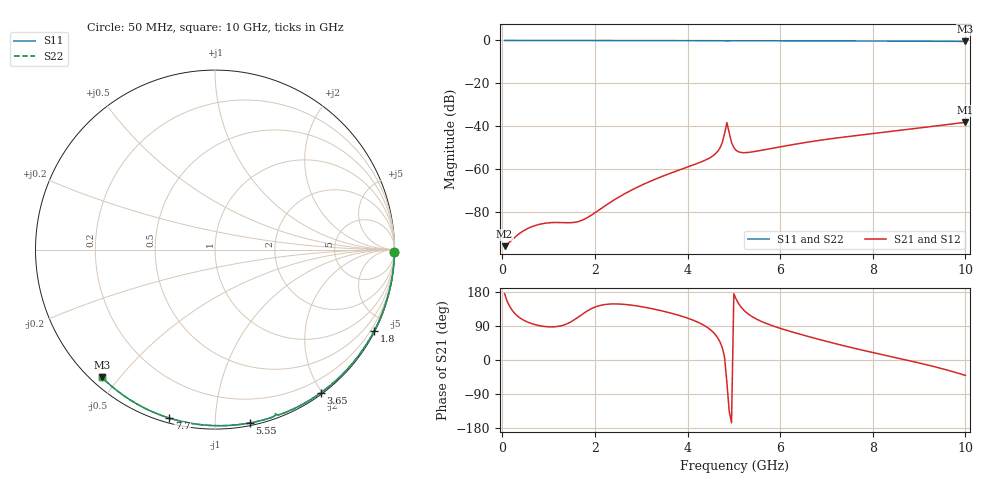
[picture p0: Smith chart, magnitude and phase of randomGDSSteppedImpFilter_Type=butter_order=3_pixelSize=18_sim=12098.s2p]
! freq	dB(S11)	phase(S11)	dB(S12)	phase(S12)
!  dB(S21)	phase(S21)	dB(S22)	phase(S22)
!S-par simulation data
#  GHz  S  DB  R 50
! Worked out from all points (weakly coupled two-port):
!   200 points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, 50 MHz to 10 GHz, reference 50 ohm
!   highest |S21| = -38.13 dB at 10 GHz (marker M1); lowest = -95.8 dB at 50 MHz (marker M2)
!   lowest |S11| = -0.4 dB at 10 GHz (marker M3), VSWR 39.15, Z = 1.54 - j22.5 ohm
!   |S11| at or under -10 dB: nowhere
!   |S22| runs from -0.4 to 0.0 dB; largest |S21 - S12| = 0
!   S11 on the Smith chart (normalised r, x): 50 MHz: open; 1.8 GHz: 0.04, -4.17; 3.65 GHz: 0.02, -1.99; 5.55 GHz: 0.02, -1.22; 7.7 GHz: 0.02, -0.76; 10 GHz: 0.03, -0.45
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0.05  -0.00 -0.8  -95.79 175.0  -95.79 175.0  -0.00 -0.8
1.75  -0.03 -26.2  -83.48 122.7  -83.48 122.7  -0.03 -26.2
1.8  -0.03 -27.0  -82.94 126.7  -82.94 126.7  -0.03 -27.0
2.05  -0.04 -30.6  -79.52 141.7  -79.52 141.7  -0.04 -30.6
2.65  -0.05 -39.3  -71.29 146.6  -71.29 146.6  -0.05 -39.3
3.4  -0.07 -50.0  -63.75 131.0  -63.75 131.0  -0.07 -50.0
3.65  -0.07 -53.4  -61.67 123.4  -61.67 123.4  -0.07 -53.4
4.35  -0.09 -63.0  -56.06 91.9  -56.06 91.9  -0.09 -63.0
4.6  -0.10 -66.5  -52.81 67.0  -52.81 67.0  -0.10 -66.5
4.7  -0.10 -67.8  -50.08 47.9  -50.08 47.9  -0.10 -67.8
4.75  -0.11 -68.6  -47.59 32.7  -47.59 32.7  -0.11 -68.6
4.8  -0.13 -69.4  -43.42 6.9  -43.42 6.9  -0.13 -69.4
4.85  -0.23 -69.8  -38.23 -60.0  -38.23 -60.0  -0.23 -69.8
4.95  -0.12 -70.7  -47.47 -165.8  -47.47 -165.8  -0.12 -70.7
5  -0.12 -71.5  -49.90 174.8  -49.90 174.8  -0.12 -71.5
5.05  -0.12 -72.2  -51.17 160.5  -51.17 160.5  -0.12 -72.2
5.2  -0.12 -74.2  -52.25 133.4  -52.25 133.4  -0.12 -74.2
5.55  -0.13 -78.7  -51.34 104.3  -51.34 104.3  -0.13 -78.7
6.7  -0.18 -93.2  -47.00 58.9  -47.00 58.9  -0.18 -93.2
7.7  -0.24 -105.2  -44.15 28.1  -44.15 28.1  -0.24 -105.2
8.35  -0.29 -112.8  -42.51 10.2  -42.51 10.2  -0.29 -112.8
10  -0.44 -131.6  -38.13 -40.6  -38.13 -40.6  -0.44 -131.6
